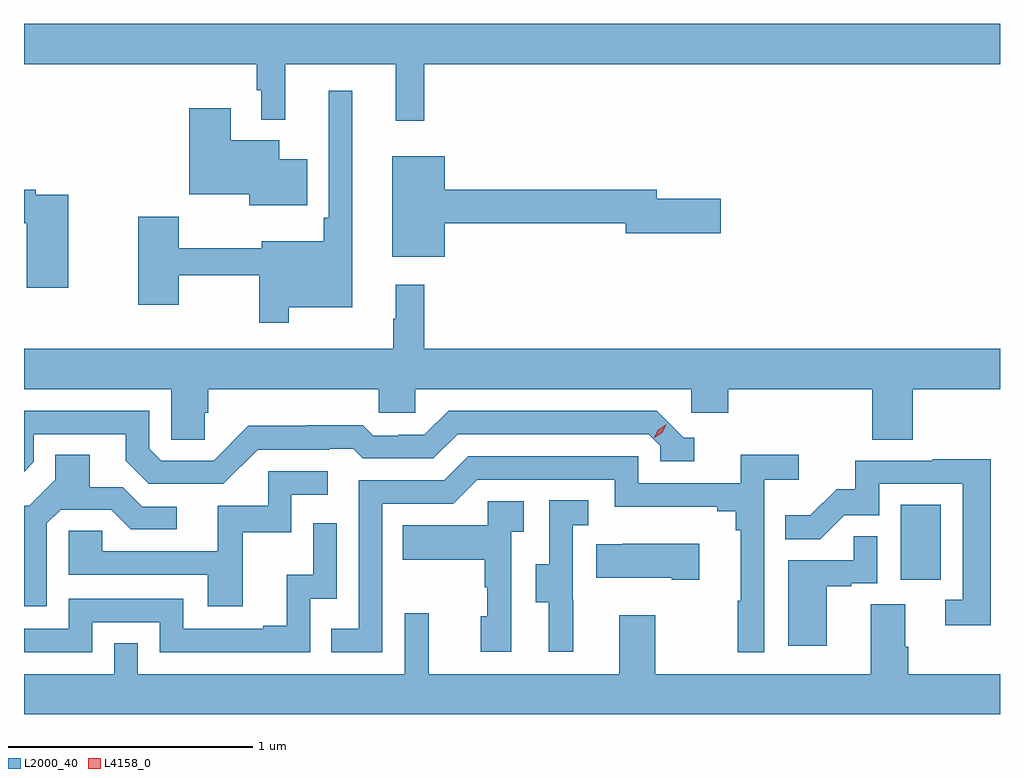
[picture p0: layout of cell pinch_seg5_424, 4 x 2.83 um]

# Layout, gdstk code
import gdstk
lib = gdstk.Library(unit=1e-6, precision=1e-09)
def R(c, l, rs):  # rectangles x0, y0, x1, y1
    for r in rs: c.add(gdstk.rectangle(r[:2], r[2:], *l))
def P(c, l, *ps):  # polygons
    for p in ps: c.add(gdstk.Polygon(p, *l))
L2000_40 = (2000, 40)
L4158_0 = (4158, 0)

pinch_seg5_424 = lib.new_cell('pinch_seg5_424')
R(pinch_seg5_424, L2000_40, [(977.216,854.646,977.38,854.953)])
P(pinch_seg5_424, L2000_40, [(975.263,856.76),(977.622,856.76),(977.622,856.924),(973.622,856.924),(973.622,856.76),(974.575,856.76),(974.575,856.653),(974.595,856.653),(974.595,856.532),(974.693,856.532),(974.693,856.76),(975.146,856.76),(975.146,856.527),(975.263,856.527)],
  [(974.707,855.764),(974.968,855.764),(974.968,856.651),(974.871,856.651),(974.871,856.129),(974.851,856.129),(974.851,856.033),(974.597,856.033),(974.597,856.005),(974.256,856.005),(974.256,856.135),(974.09,856.135),(974.09,855.774),(974.256,855.774),(974.256,855.894),(974.586,855.894),(974.586,855.699),(974.707,855.699)],
  [(974.782,856.369),(974.668,856.369),(974.668,856.447),(974.47,856.447),(974.47,856.579),(974.3,856.579),(974.3,856.226),(974.546,856.226),(974.546,856.181),(974.782,856.181)],
  [(975.346,856.108),(976.088,856.108),(976.088,856.066),(976.477,856.066),(976.477,856.208),(976.216,856.208),(976.216,856.244),(975.346,856.244),(975.346,856.381),(975.131,856.381),(975.131,855.971),(975.346,855.971)],
  [(973.804,856.224),(973.67,856.224),(973.67,856.244),(973.622,856.244),(973.622,856.108),(973.634,856.108),(973.634,855.843),(973.804,855.843)],
  [(975.263,855.856),(975.146,855.856),(975.146,855.716),(975.135,855.716),(975.135,855.592),(973.622,855.592),(973.622,855.428),(974.226,855.428),(974.226,855.22),(974.363,855.22),(974.363,855.33),(974.378,855.33),(974.378,855.428),(975.075,855.428),(975.075,855.33),(975.225,855.33),(975.225,855.428),(976.356,855.428),(976.356,855.33),(976.508,855.33),(976.508,855.428),(977.099,855.428),(977.099,855.22),(977.264,855.22),(977.264,855.428),(977.622,855.428),(977.622,855.592),(975.263,855.592)],
  [(974.58,855.18),(974.873,855.18),(974.873,855.183),(974.972,855.183),(975.011,855.144),(975.3,855.144),(975.399,855.243),(976.182,855.243),(976.23,855.195),(976.23,855.132),(976.369,855.132),(976.369,855.228),(976.326,855.228),(976.215,855.339),(975.362,855.339),(975.263,855.24),(975.156,855.24),(975.156,855.237),(975.053,855.237),(975.011,855.28),(974.778,855.28),(974.778,855.277),(974.542,855.277),(974.4,855.135),(974.184,855.135),(974.136,855.183),(974.136,855.339),(973.622,855.339),(973.622,855.089),(973.662,855.129),(973.662,855.243),(974.039,855.243),(974.039,855.133),(974.133,855.039),(974.439,855.039)],
  [(975.09,854.958),(975.381,854.958),(975.48,855.057),(976.044,855.057),(976.044,854.945),(976.463,854.945),(976.463,854.926),(976.54,854.926),(976.54,854.849),(976.559,854.849),(976.559,854.561),(976.548,854.561),(976.548,854.349),(976.656,854.349),(976.656,855.056),(976.798,855.056),(976.798,855.158),(976.559,855.158),(976.559,855.042),(976.14,855.042),(976.14,855.153),(975.443,855.153),(975.344,855.054),(974.994,855.054),(974.994,854.445),(974.881,854.445),(974.881,854.349),(975.09,854.349)],
  [(973.716,854.877),(973.773,854.934),(973.979,854.934),(974.06,854.853),(974.248,854.853),(974.248,854.946),(974.106,854.946),(974.026,855.026),(973.891,855.026),(973.891,855.158),(973.751,855.158),(973.751,855.056),(973.644,854.949),(973.622,854.949),(973.622,854.538),(973.716,854.538)],
  [(977.585,855.14),(977.347,855.14),(977.347,855.135),(977.029,855.135),(977.029,855.018),(976.952,855.018),(976.845,854.911),(976.741,854.911),(976.741,854.812),(976.885,854.812),(976.983,854.91),(977.127,854.91),(977.127,855.039),(977.469,855.039),(977.469,854.565),(977.397,854.565),(977.397,854.46),(977.585,854.46)],
  [(974.519,854.841),(974.718,854.841),(974.718,854.994),(974.866,854.994),(974.866,855.09),(974.622,855.09),(974.622,854.949),(974.417,854.949),(974.417,854.763),(973.943,854.763),(973.943,854.847),(973.806,854.847),(973.806,854.667),(974.375,854.667),(974.375,854.538),(974.519,854.538)],
  [(975.872,854.565),(975.87,854.565),(975.87,854.869),(975.934,854.869),(975.934,854.972),(975.774,854.972),(975.774,854.709),(975.719,854.709),(975.719,854.554),(975.773,854.554),(975.773,854.352),(975.872,854.352)],
  [(975.618,854.843),(975.67,854.843),(975.67,854.967),(975.522,854.967),(975.522,854.869),(975.175,854.869),(975.175,854.729),(975.51,854.729),(975.51,854.615),(975.52,854.615),(975.52,854.496),(975.494,854.496),(975.494,854.352),(975.618,854.352)],
  [(973.902,854.472),(974.178,854.472),(974.178,854.349),(974.796,854.349),(974.796,854.568),(974.904,854.568),(974.904,854.878),(974.808,854.878),(974.808,854.666),(974.699,854.666),(974.699,854.458),(974.603,854.458),(974.603,854.445),(974.274,854.445),(974.274,854.568),(973.806,854.568),(973.806,854.445),(973.622,854.445),(973.622,854.349),(973.902,854.349)],
  [(976.912,854.619),(977.012,854.619),(977.012,854.631),(977.118,854.631),(977.118,854.825),(977.023,854.825),(977.023,854.727),(976.754,854.727),(976.754,854.376),(976.912,854.376)],
  [(976.39,854.794),(976.075,854.794),(976.075,854.791),(975.967,854.791),(975.967,854.654),(976.277,854.654),(976.277,854.647),(976.39,854.647)],
  [(977.622,854.26),(977.246,854.26),(977.246,854.372),(977.233,854.372),(977.233,854.546),(977.093,854.546),(977.093,854.26),(976.209,854.26),(976.209,854.5),(976.061,854.5),(976.061,854.26),(975.281,854.26),(975.281,854.509),(975.183,854.509),(975.183,854.26),(974.088,854.26),(974.088,854.387),(973.992,854.387),(973.992,854.26),(973.622,854.26),(973.622,854.096),(977.622,854.096)])
P(pinch_seg5_424, L4158_0, [(976.205,855.229),(976.205,855.23),(976.222,855.262),(976.253,855.281),(976.254,855.281),(976.254,855.281),(976.237,855.248),(976.205,855.229)])

lib.write_gds('pinch_seg5_424.gds')
